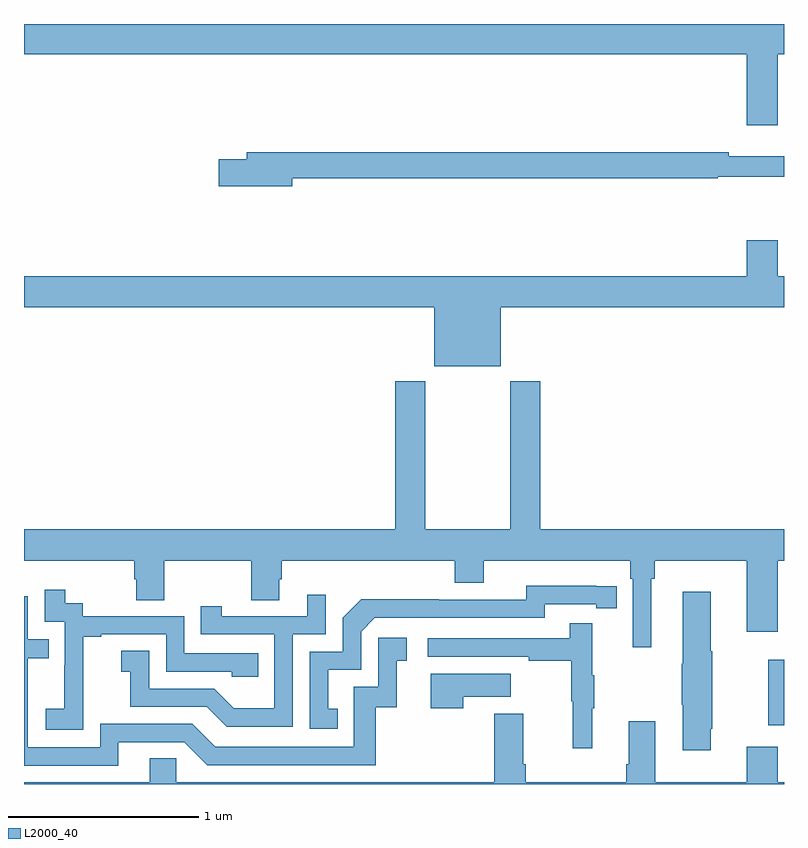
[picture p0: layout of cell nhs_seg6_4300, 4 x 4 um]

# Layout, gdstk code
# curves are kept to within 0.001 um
import gdstk
lib = gdstk.Library(unit=1e-6, precision=1e-09)
def R(c, l, rs):  # rectangles x0, y0, x1, y1
    for r in rs: c.add(gdstk.rectangle(r[:2], r[2:], *l))
def P(c, l, *ps):  # polygons
    for p in ps: c.add(gdstk.Polygon(p, *l))
L2000_40 = (2000, 40)

nhs_seg6_4300 = lib.new_cell('nhs_seg6_4300')
R(nhs_seg6_4300, L2000_40, [(368.918,939.809,369,940.153)])
P(nhs_seg6_4300, L2000_40, [(368.968,943.34),(369,943.34),(369,943.5),(365,943.5),(365,943.34),(368.804,943.34),(368.804,942.966),(368.968,942.966)],
  [(366.412,942.688),(368.65,942.688),(368.65,942.696),(369,942.696),(369,942.805),(368.708,942.805),(368.708,942.824),(366.173,942.824),(366.173,942.788),(366.024,942.788),(366.024,942.646),(366.412,942.646)],
  [(367.51,942.008),(369,942.008),(369,942.172),(368.968,942.172),(368.968,942.361),(368.804,942.361),(368.804,942.172),(365,942.172),(365,942.008),(367.16,942.008),(367.16,941.699),(367.51,941.699)],
  [(368.302,940.58),(368.321,940.58),(368.321,940.676),(368.804,940.676),(368.804,940.302),(368.968,940.302),(368.968,940.676),(369,940.676),(369,940.84),(367.718,940.84),(367.718,941.62),(367.558,941.62),(367.558,940.84),(367.113,940.84),(367.113,941.62),(366.953,941.62),(366.953,940.84),(365,940.84),(365,940.676),(365.579,940.676),(365.579,940.578),(365.591,940.578),(365.591,940.468),(365.739,940.468),(365.739,940.676),(366.196,940.676),(366.196,940.468),(366.343,940.468),(366.343,940.578),(366.356,940.578),(366.356,940.676),(367.268,940.676),(367.268,940.559),(367.42,940.559),(367.42,940.676),(368.192,940.676),(368.192,940.58),(368.205,940.58),(368.205,940.221),(368.302,940.221)],
  [(366.65,939.897),(366.601,939.897),(366.601,940.101),(366.774,940.101),(366.774,940.302),(366.846,940.374),(367.74,940.374),(367.74,940.446),(368.012,940.446),(368.012,940.426),(368.12,940.426),(368.12,940.542),(367.644,940.543),(367.644,940.47),(367.184,940.47),(367.184,940.472),(366.776,940.472),(366.678,940.374),(366.678,940.197),(366.504,940.197),(366.504,939.792),(366.65,939.792)],
  [(365.313,939.991),(365.312,939.991),(365.312,940.275),(365.407,940.275),(365.407,940.287),(365.748,940.287),(365.748,940.092),(366.093,940.092),(366.093,940.065),(366.233,940.065),(366.233,940.188),(365.844,940.188),(365.844,940.383),(365.31,940.383),(365.31,940.452),(365.218,940.452),(365.218,940.522),(365.109,940.522),(365.109,940.353),(365.214,940.353),(365.214,940.124),(365.213,940.124),(365.213,939.895),(365.115,939.895),(365.115,939.785),(365.313,939.785)],
  [(368.614,939.79),(368.622,939.79),(368.622,940.2),(368.614,940.2),(368.614,940.513),(368.468,940.513),(368.468,940.133),(368.461,940.133),(368.461,939.916),(368.468,939.916),(368.468,939.678),(368.614,939.678)],
  [(366.414,940.287),(366.588,940.287),(366.588,940.495),(366.491,940.495),(366.491,940.383),(366.04,940.383),(366.04,940.435),(365.929,940.435),(365.929,940.287),(366.318,940.287),(366.318,939.898),(366.104,939.898),(366,940.002),(365.658,940.002),(365.658,940.201),(365.511,940.201),(365.511,940.091),(365.56,940.091),(365.56,939.906),(365.963,939.906),(366.068,939.801),(366.414,939.801)],
  [(365.497,939.72),(365.844,939.72),(365.964,939.6),(366.851,939.6),(366.851,939.903),(366.962,939.903),(366.962,940.149),(367.015,940.149),(367.015,940.27),(366.864,940.27),(366.864,940.011),(366.735,940.011),(366.735,939.696),(366.006,939.696),(365.886,939.816),(365.4,939.816),(365.4,939.693),(365.019,939.693),(365.019,940.162),(365.129,940.162),(365.129,940.263),(365.019,940.263),(365.019,940.488),(365,940.488),(365,939.597),(365.497,939.597)],
  [(367.991,939.899),(368.002,939.899),(368.002,940.073),(367.991,940.073),(367.991,940.345),(367.873,940.345),(367.873,940.266),(367.125,940.266),(367.125,940.17),(367.657,940.17),(367.657,940.15),(367.881,940.15),(367.881,939.936),(367.888,939.936),(367.888,939.687),(367.991,939.687)],
  [(367.313,939.959),(367.561,939.959),(367.561,940.081),(367.142,940.081),(367.142,939.9),(367.313,939.9)],
  [(369,939.508),(368.968,939.508),(368.968,939.697),(368.804,939.697),(368.804,939.508),(368.323,939.508),(368.323,939.829),(368.183,939.829),(368.183,939.604),(368.171,939.604),(368.171,939.508),(367.64,939.508),(367.64,939.604),(367.627,939.604),(367.627,939.871),(367.475,939.871),(367.475,939.508),(365.802,939.508),(365.802,939.635),(365.663,939.635),(365.663,939.508),(365,939.508),(365,939.5),(369,939.5)])

lib.write_gds('nhs_seg6_4300.gds')
